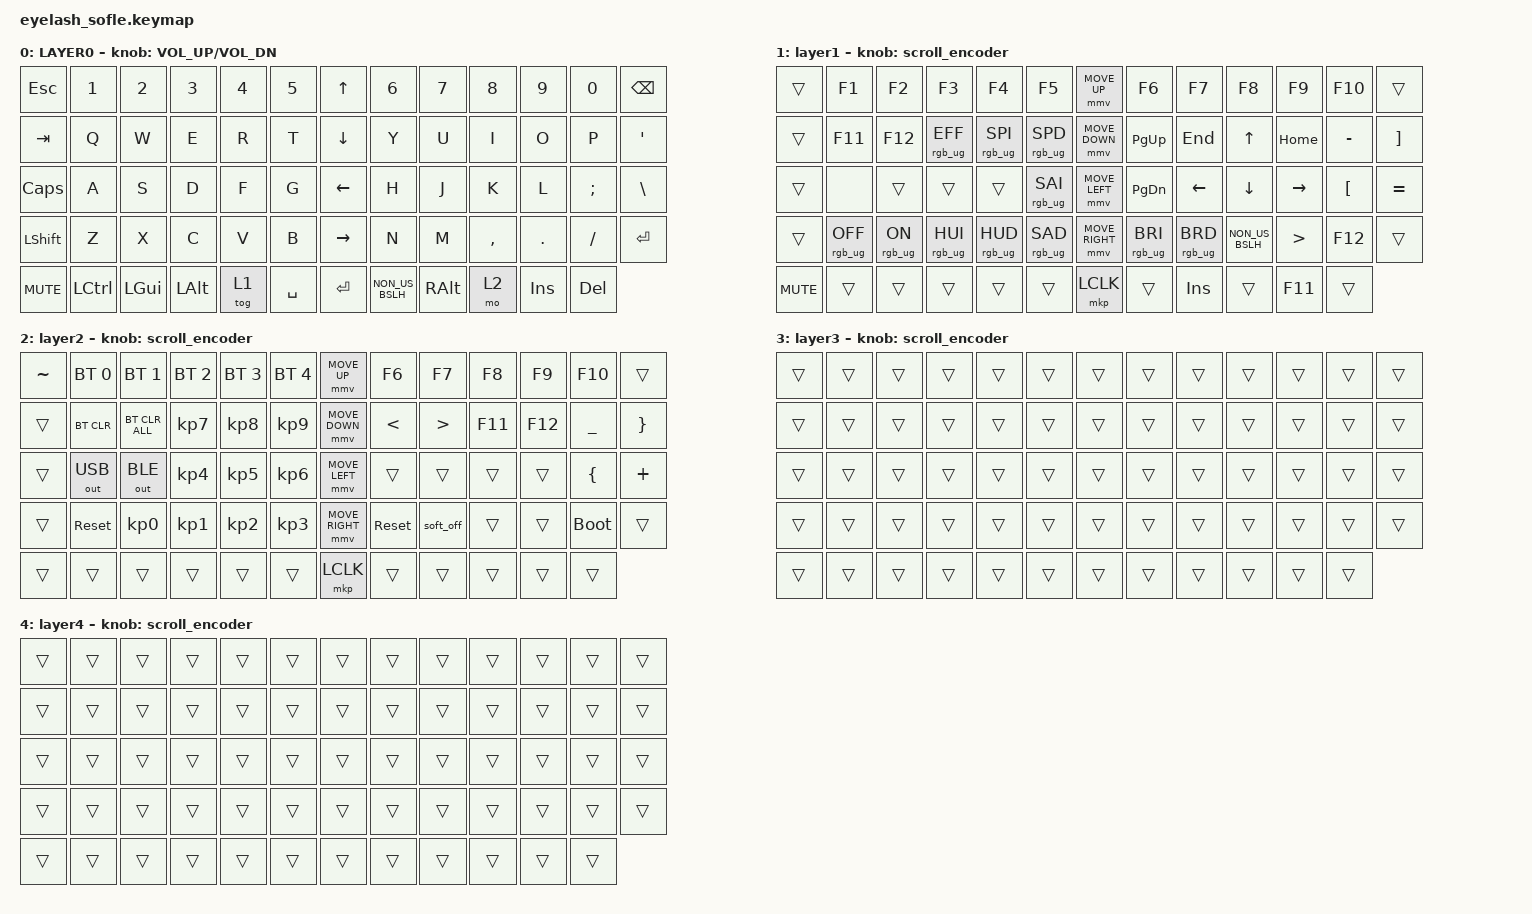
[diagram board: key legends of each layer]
#define ZMK_POINTING_DEFAULT_MOVE_VAL 1200  // 600
#define ZMK_POINTING_DEFAULT_SCRL_VAL 25   // 10

#include <input/processors.dtsi>
#include <zephyr/dt-bindings/input/input-event-codes.h>
#include <behaviors.dtsi>
#include <dt-bindings/zmk/bt.h>
#include <dt-bindings/zmk/keys.h>
#include <dt-bindings/zmk/outputs.h>
#include <dt-bindings/zmk/pointing.h>
#include <dt-bindings/zmk/rgb.h>

&mmv_input_listener { input-processors = <&zip_xy_scaler 2 1>; };

&msc_input_listener { input-processors = <&zip_scroll_scaler 2 1>; };

&msc {
    acceleration-exponent = <1>;      // 0
    time-to-max-speed-ms = <100>;       // 300
    delay-ms = <0>;                   // 0
};

&mmv {
    time-to-max-speed-ms = <500>;
    acceleration-exponent = <1>;
    trigger-period-ms = <16>;
};

&soft_off { hold-time-ms = <2000>; };

/ {
    scroll_encoder: scroll_encoder {
        compatible = "zmk,behavior-sensor-rotate";
        #sensor-binding-cells = <0>;
        bindings = <&msc SCRL_DOWN>, <&msc SCRL_UP>;

        tap-ms = <100>;
    };

    behaviors {
    };

    combos {
        compatible = "zmk,combos";

        softoff {
            bindings = <&soft_off>;
            key-positions = <14 28 40>;
        };
    };

    keymap {
        compatible = "zmk,keymap";

        layer0 {
            bindings = <
&kp ESCAPE      &kp N1     &kp N2        &kp N3    &kp N4  &kp N5       &kp UP_ARROW     &kp N6           &kp N7         &kp N8     &kp N9      &kp N0      &kp BACKSPACE
&kp TAB         &kp Q      &kp W         &kp E     &kp R   &kp T        &kp DOWN_ARROW   &kp Y            &kp U          &kp I      &kp O       &kp P       &kp APOS
&kp CAPSLOCK    &kp A      &kp S         &kp D     &kp F   &kp G        &kp LEFT_ARROW   &kp H            &kp J          &kp K      &kp L       &kp SEMI    &kp BACKSLASH
&kp LEFT_SHIFT  &kp Z      &kp X         &kp C     &kp V   &kp B        &kp RIGHT_ARROW  &kp N            &kp M          &kp COMMA  &kp DOT     &kp FSLH    &kp ENTER
&kp C_MUTE      &kp LCTRL  &kp LEFT_GUI  &kp LALT  &tog 1  &kp SPACE    &kp ENTER        &kp NON_US_BSLH  &kp RIGHT_ALT  &mo 2      &kp INSERT  &kp DELETE
            >;

            sensor-bindings = <&inc_dec_kp C_VOLUME_UP C_VOL_DN>;
            display-name = "LAYER0";
        };

        layer_1 {
            bindings = <
&trans      &kp F1           &kp F2          &kp F3           &kp F4           &kp F5             &mmv MOVE_UP     &kp F6           &kp F7           &kp F8           &kp F9            &kp F10           &trans
&trans      &kp F11          &kp F12         &rgb_ug RGB_EFF  &rgb_ug RGB_SPI  &rgb_ug RGB_SPD    &mmv MOVE_DOWN   &kp PAGE_UP      &kp END          &kp UP_ARROW     &kp HOME          &kp MINUS         &kp RIGHT_BRACKET
&trans      &none            &trans          &trans           &trans           &rgb_ug RGB_SAI    &mmv MOVE_LEFT   &kp PAGE_DOWN    &kp LEFT_ARROW   &kp DOWN_ARROW   &kp RIGHT_ARROW   &kp LEFT_BRACKET  &kp EQUAL
&trans      &rgb_ug RGB_OFF  &rgb_ug RGB_ON  &rgb_ug RGB_HUI  &rgb_ug RGB_HUD  &rgb_ug RGB_SAD    &mmv MOVE_RIGHT  &rgb_ug RGB_BRI  &rgb_ug RGB_BRD  &kp NON_US_BSLH  &kp GREATER_THAN  &kp F12           &trans
&kp C_MUTE  &trans           &trans          &trans           &trans           &trans             &mkp LCLK        &trans           &kp INSERT       &trans           &kp F11           &trans
            >;

            display-name = "layer1";
            sensor-bindings = <&scroll_encoder>;
        };

        layer_2 {
            bindings = <
&kp TILDE  &bt BT_SEL 0  &bt BT_SEL 1     &bt BT_SEL 2     &bt BT_SEL 3     &bt BT_SEL 4       &mmv MOVE_UP     &kp F6         &kp F7            &kp F8   &kp F9   &kp F10      &trans
&trans     &bt BT_CLR    &bt BT_CLR_ALL   &kp KP_NUMBER_7  &kp KP_NUMBER_8  &kp KP_NUMBER_9    &mmv MOVE_DOWN   &kp LESS_THAN  &kp GREATER_THAN  &kp F11  &kp F12  &kp UNDER    &kp RBRC
&trans     &out OUT_USB  &out OUT_BLE     &kp KP_NUMBER_4  &kp KP_NUMBER_5  &kp KP_NUMBER_6    &mmv MOVE_LEFT   &trans         &trans            &trans   &trans   &kp LBRC     &kp PLUS
&trans     &sys_reset    &kp KP_NUMBER_0  &kp KP_NUMBER_1  &kp KP_NUMBER_2  &kp KP_NUMBER_3    &mmv MOVE_RIGHT  &sys_reset     &soft_off         &trans   &trans   &bootloader  &trans
&trans     &trans        &trans           &trans           &trans           &trans             &mkp LCLK        &trans         &trans            &trans   &trans   &trans
            >;

            display-name = "layer2";
            sensor-bindings = <&scroll_encoder>;
        };

        layer_3 {
            bindings = <
&trans  &trans  &trans  &trans  &trans  &trans    &trans  &trans  &trans  &trans  &trans  &trans  &trans
&trans  &trans  &trans  &trans  &trans  &trans    &trans  &trans  &trans  &trans  &trans  &trans  &trans
&trans  &trans  &trans  &trans  &trans  &trans    &trans  &trans  &trans  &trans  &trans  &trans  &trans
&trans  &trans  &trans  &trans  &trans  &trans    &trans  &trans  &trans  &trans  &trans  &trans  &trans
&trans  &trans  &trans  &trans  &trans  &trans    &trans  &trans  &trans  &trans  &trans  &trans
            >;

            display-name = "layer3";
            sensor-bindings = <&scroll_encoder>;
        };

        layer_4 {
            bindings = <
&trans  &trans  &trans  &trans  &trans  &trans    &trans  &trans  &trans  &trans  &trans  &trans  &trans
&trans  &trans  &trans  &trans  &trans  &trans    &trans  &trans  &trans  &trans  &trans  &trans  &trans
&trans  &trans  &trans  &trans  &trans  &trans    &trans  &trans  &trans  &trans  &trans  &trans  &trans
&trans  &trans  &trans  &trans  &trans  &trans    &trans  &trans  &trans  &trans  &trans  &trans  &trans
&trans  &trans  &trans  &trans  &trans  &trans    &trans  &trans  &trans  &trans  &trans  &trans
            >;

            display-name = "layer4";
            sensor-bindings = <&scroll_encoder>;
        };
    };
};
